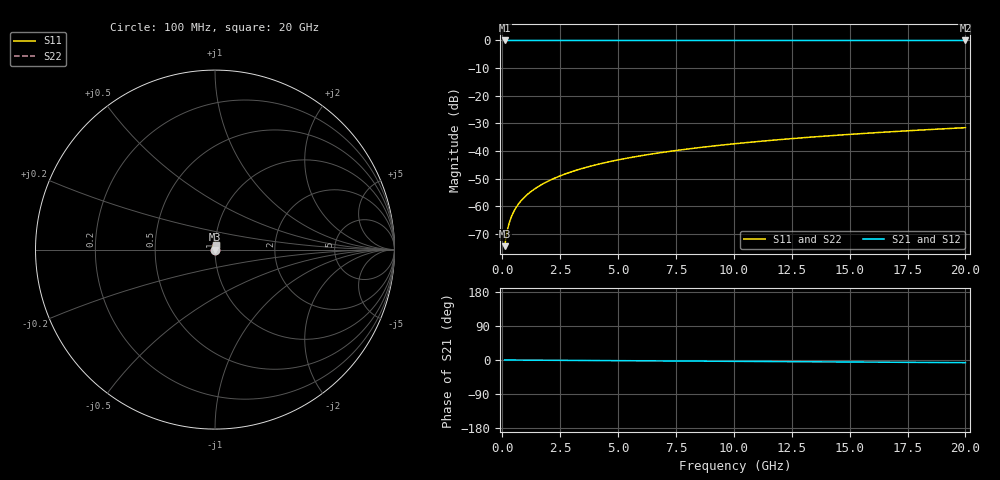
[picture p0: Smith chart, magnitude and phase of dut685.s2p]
! Touchstone file exported from HFSS 2026.1.0
!  File:  C:/ffzhzh/LocalFiles/Ansys_Project_Files/temp_train_TSV_685_1783027484_4048.aedt
!  Generated:  05:26:30 AM Jul  3, 2026
!  Design:  TSV
!  Project:  temp_train_TSV_685_1783027484_4048
! Variables:
!  h_bsmrdl = 2um
!  h_ox = 20um
!  h_rdl = 5um
!  h_sub = 62.97um
!  h_tmrdl = 5um
!  h_tsv = 62.97um
!  h_via = 3um
!  l_bsmrdl = 300um
!  l_sub = 421.86um
!  l_tmrdl = 200um
!  m_sub = 200um
!  pitch = 55.71um
!  r_tsv = 10.93um
!  s_tmrdl = 10um
!  w_bsmrdl = 18um
!  w_sub = 500um
!  w_tmrdl = 12um
!  x_tsv_center1 = 206um
!  x_tsv_center2 = 524um
!  x_tsv_center3 = 736um
!  x_tsv_center4 = 1054um
!  x_tsv_center5 = 1266um
!  x_tsv_center6 = 1584um
# GHz S MA R 50.000000
! Terminal data exported
! Port[1] = TSV1_1_T1
! Port[2] = TSV1_1_T2
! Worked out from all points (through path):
!   200 points, 100 MHz to 20 GHz, reference 50 ohm
!   highest |S21| = 0.00 dB at 100 MHz (marker M1); lowest = 0.0 dB at 20 GHz (marker M2)
!   lowest |S11| = -74.5 dB at 100 MHz (marker M3), VSWR 1.00, Z = 50 + j0.0165 ohm
!   |S11| at or under -10 dB: start of sweep to end of sweep
!   |S22| runs from -74.5 to -31.6 dB; largest |S21 - S12| = 4.7e-15
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0.1  0.000189 60.9  0.9999 -0.0  0.9999 -0.0  0.000189 60.9
! Gamma 0 0 0 0
! Port Impedance 50 0 50 0
0.2  0.0003434 72.8  0.9999 -0.1  0.9999 -0.1  0.0003434 72.8
0.3  0.0005009 76.7  0.9999 -0.1  0.9999 -0.1  0.0005009 76.7
0.4  0.0006558 78.3  0.9999 -0.1  0.9999 -0.1  0.0006558 78.3
0.5  0.0008069 79.2  0.9999 -0.2  0.9999 -0.2  0.0008069 79.2
0.6  0.0009542 79.7  0.9998 -0.2  0.9998 -0.2  0.0009542 79.7
0.7  0.001098 80.1  0.9998 -0.3  0.9998 -0.3  0.001098 80.1
0.9  0.001379 80.7  0.9998 -0.3  0.9998 -0.3  0.001379 80.7
1.1  0.001653 81.2  0.9998 -0.4  0.9998 -0.4  0.001653 81.2
1.3  0.001925 81.7  0.9997 -0.5  0.9997 -0.5  0.001925 81.7
1.6  0.00233 82.3  0.9997 -0.6  0.9997 -0.6  0.00233 82.3
1.9  0.002735 82.8  0.9997 -0.7  0.9997 -0.7  0.002735 82.8
2.6  0.003678 83.6  0.9996 -0.9  0.9996 -0.9  0.003678 83.6
3.5  0.004888 84.1  0.9996 -1.2  0.9996 -1.2  0.004888 84.1
4.2  0.005825 84.2  0.9995 -1.5  0.9995 -1.5  0.005825 84.2
5  0.00689 84.2  0.9995 -1.8  0.9995 -1.8  0.00689 84.2
6.8  0.00927 84.1  0.9994 -2.4  0.9994 -2.4  0.00927 84.1
8.3  0.01124 83.9  0.9993 -2.9  0.9993 -2.9  0.01124 83.9
10.1  0.01359 83.5  0.9992 -3.6  0.9992 -3.6  0.01359 83.5
13.4  0.01788 82.8  0.9991 -4.7  0.9991 -4.7  0.01788 82.8
16.7  0.02215 81.9  0.9989 -5.9  0.9989 -5.9  0.02215 81.9
20  0.02638 80.9  0.9987 -7.0  0.9987 -7.0  0.02638 80.9
